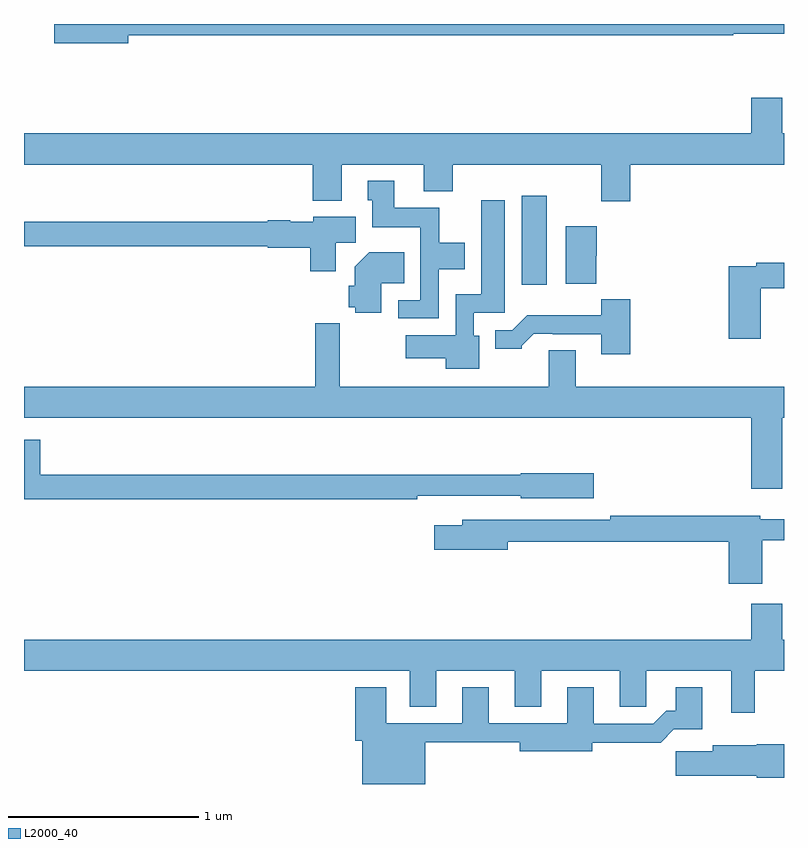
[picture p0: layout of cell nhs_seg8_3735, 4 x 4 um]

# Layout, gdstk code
import gdstk
lib = gdstk.Library(unit=1e-6, precision=1e-09)
def R(c, l, rs):  # rectangles x0, y0, x1, y1
    for r in rs: c.add(gdstk.rectangle(r[:2], r[2:], *l))
def P(c, l, *ps):  # polygons
    for p in ps: c.add(gdstk.Polygon(p, *l))
L2000_40 = (2000, 40)

nhs_seg8_3735 = lib.new_cell('nhs_seg8_3735')
R(nhs_seg8_3735, L2000_40, [(343.619,1122.528,343.75,1122.997)])
P(nhs_seg8_3735, L2000_40, [(341.548,1123.84),(344.734,1123.84),(344.734,1123.848),(345,1123.848),(345,1123.9),(341.16,1123.9),(341.16,1123.798),(341.548,1123.798)],
  [(344.192,1123.16),(345,1123.16),(345,1123.324),(344.992,1123.324),(344.992,1123.513),(344.828,1123.513),(344.828,1123.324),(341,1123.324),(341,1123.16),(342.521,1123.16),(342.521,1122.971),(342.673,1122.971),(342.673,1123.16),(343.103,1123.16),(343.103,1123.019),(343.256,1123.019),(343.256,1123.16),(344.039,1123.16),(344.039,1122.966),(344.192,1122.966)],
  [(343.182,1122.608),(343.321,1122.608),(343.321,1122.748),(343.185,1122.748),(343.185,1122.934),(342.949,1122.934),(342.949,1123.075),(342.809,1123.075),(342.809,1122.972),(342.833,1122.972),(342.833,1122.83),(343.086,1122.83),(343.086,1122.447),(342.969,1122.447),(342.969,1122.351),(343.182,1122.351)],
  [(343.396,1122.258),(343.368,1122.258),(343.368,1122.381),(343.531,1122.381),(343.531,1122.973),(343.406,1122.973),(343.406,1122.478),(343.272,1122.478),(343.272,1122.262),(343.008,1122.262),(343.008,1122.14),(343.22,1122.14),(343.22,1122.086),(343.396,1122.086)],
  [(342.64,1122.748),(342.745,1122.748),(342.745,1122.886),(342.522,1122.886),(342.522,1122.859),(342.402,1122.859),(342.402,1122.867),(342.282,1122.867),(342.282,1122.859),(341,1122.859),(341,1122.73),(342.282,1122.73),(342.282,1122.722),(342.506,1122.722),(342.506,1122.6),(342.64,1122.6)],
  [(344.012,1122.681),(344.014,1122.681),(344.014,1122.835),(343.85,1122.835),(343.85,1122.533),(344.012,1122.533)],
  [(342.88,1122.536),(343.001,1122.536),(343.001,1122.7),(342.818,1122.7),(342.74,1122.622),(342.74,1122.522),(342.71,1122.522),(342.71,1122.408),(342.744,1122.408),(342.744,1122.379),(342.88,1122.379)],
  [(344.878,1122.508),(345,1122.508),(345,1122.644),(344.854,1122.644),(344.854,1122.624),(344.708,1122.624),(344.708,1122.243),(344.878,1122.243)],
  [(344.192,1122.451),(344.037,1122.451),(344.037,1122.367),(343.648,1122.367),(343.569,1122.288),(343.481,1122.288),(343.481,1122.191),(343.62,1122.191),(343.62,1122.206),(343.684,1122.27),(343.783,1122.27),(343.783,1122.267),(344.039,1122.267),(344.039,1122.162),(344.192,1122.162)],
  [(344.992,1121.828),(345,1121.828),(345,1121.992),(343.903,1121.992),(343.903,1122.182),(343.763,1122.182),(343.763,1121.992),(342.661,1121.992),(342.661,1122.325),(342.532,1122.325),(342.532,1121.992),(341,1121.992),(341,1121.828),(344.828,1121.828),(344.828,1121.454),(344.992,1121.454)],
  [(343.07,1121.418),(343.614,1121.418),(343.614,1121.405),(343.999,1121.405),(343.999,1121.535),(343.614,1121.535),(343.614,1121.527),(341.086,1121.527),(341.086,1121.713),(341,1121.713),(341,1121.398),(343.07,1121.398)],
  [(344.886,1121.184),(345,1121.184),(345,1121.293),(344.874,1121.293),(344.874,1121.312),(344.086,1121.312),(344.086,1121.292),(343.307,1121.292),(343.307,1121.263),(343.158,1121.263),(343.158,1121.134),(343.546,1121.134),(343.546,1121.176),(344.708,1121.176),(344.708,1120.953),(344.886,1120.953)],
  [(344.845,1120.496),(345,1120.496),(345,1120.66),(344.992,1120.66),(344.992,1120.849),(344.828,1120.849),(344.828,1120.66),(341,1120.66),(341,1120.496),(343.031,1120.496),(343.031,1120.306),(343.171,1120.306),(343.171,1120.496),(343.583,1120.496),(343.583,1120.306),(343.723,1120.306),(343.723,1120.496),(344.135,1120.496),(344.135,1120.306),(344.274,1120.306),(344.274,1120.496),(344.723,1120.496),(344.723,1120.275),(344.845,1120.275)],
  [(343.111,1120.12),(343.61,1120.12),(343.61,1120.073),(343.99,1120.073),(343.99,1120.118),(344.351,1120.118),(344.42,1120.187),(344.569,1120.187),(344.569,1120.408),(344.429,1120.408),(344.429,1120.285),(344.38,1120.285),(344.313,1120.218),(343.999,1120.218),(343.999,1120.408),(343.859,1120.408),(343.859,1120.221),(343.447,1120.221),(343.447,1120.408),(343.307,1120.408),(343.307,1120.221),(342.907,1120.221),(342.907,1120.408),(342.743,1120.408),(342.743,1120.128),(342.779,1120.128),(342.779,1119.9),(343.111,1119.9)],
  [(345,1120.11),(344.856,1120.11),(344.856,1120.105),(344.624,1120.105),(344.624,1120.073),(344.43,1120.073),(344.43,1119.944),(344.856,1119.944),(344.856,1119.932),(345,1119.932)])

lib.write_gds('nhs_seg8_3735.gds')
